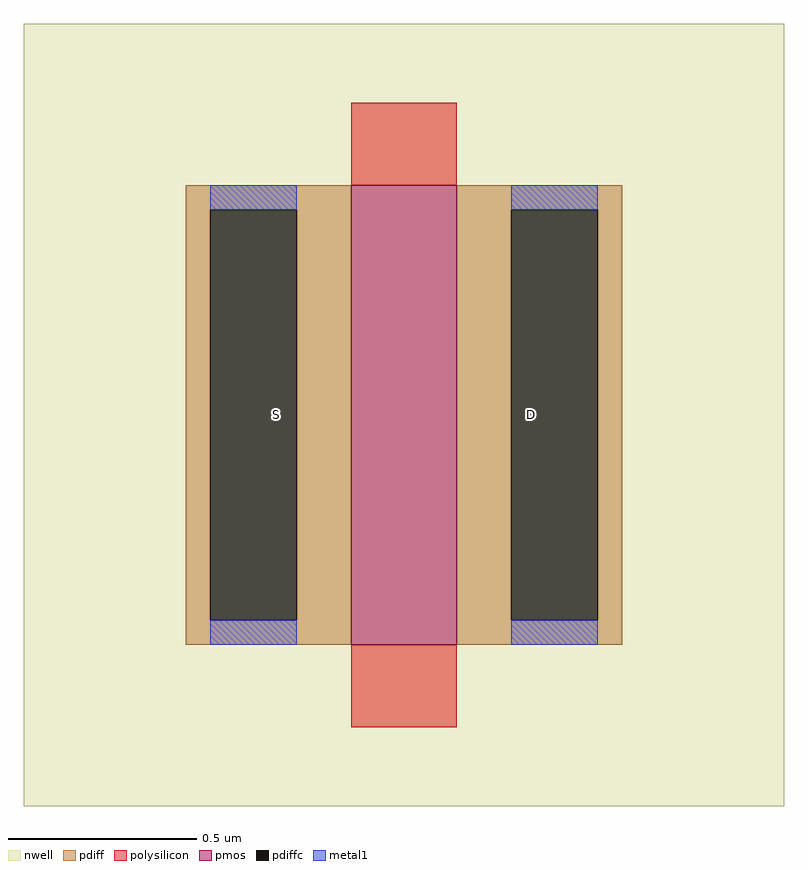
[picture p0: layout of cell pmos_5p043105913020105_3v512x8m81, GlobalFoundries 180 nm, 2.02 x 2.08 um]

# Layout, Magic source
magic
tech gf180mcuD
magscale 1 10
<< nwell >>
rect -174 -86 230 330
<< pmos >>
rect 0 0 56 244
<< pdiff >>
rect -88 231 0 244
rect -88 13 -75 231
rect -29 13 0 231
rect -88 0 0 13
rect 56 231 144 244
rect 56 13 85 231
rect 131 13 144 231
rect 56 0 144 13
<< pdiffc >>
rect -75 13 -29 231
rect 85 13 131 231
<< polysilicon >>
rect 0 244 56 288
rect 0 -44 56 0
<< metal1 >>
rect -75 231 -29 244
rect -75 0 -29 13
rect 85 231 131 244
rect 85 0 131 13
<< labels >>
flabel pdiffc -40 122 -40 122 0 FreeSans 186 0 0 0 S
flabel pdiffc 96 122 96 122 0 FreeSans 186 0 0 0 D
<< end >>
